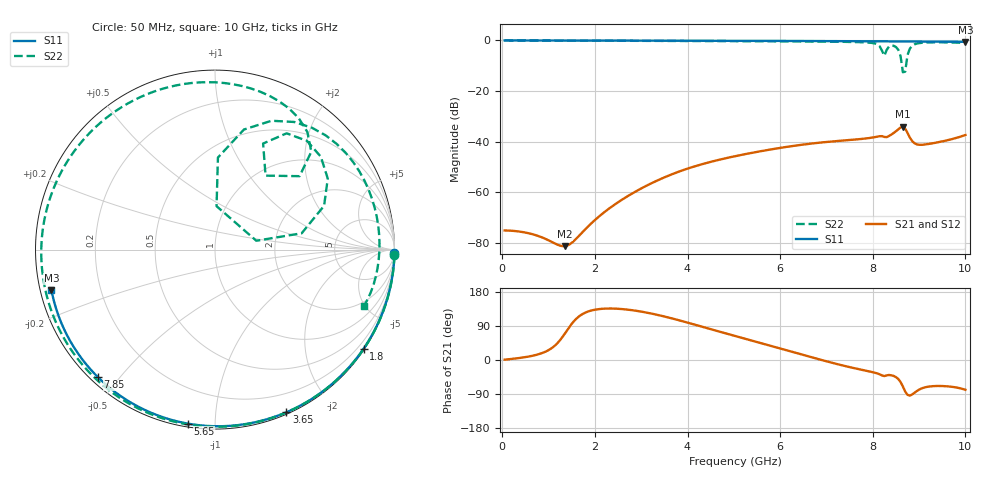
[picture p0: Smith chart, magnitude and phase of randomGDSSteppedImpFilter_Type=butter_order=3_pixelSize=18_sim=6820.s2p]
! freq	dB(S11)	phase(S11)	dB(S12)	phase(S12)
!  dB(S21)	phase(S21)	dB(S22)	phase(S22)
!S-par simulation data
#  GHz  S  DB  R 50
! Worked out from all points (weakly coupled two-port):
!   200 points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, 50 MHz to 10 GHz, reference 50 ohm
!   highest |S21| = -34.10 dB at 8.65 GHz (marker M1); lowest = -81.3 dB at 1.35 GHz (marker M2)
!   lowest |S11| = -0.5 dB at 10 GHz (marker M3), VSWR 31.71, Z = 1.6 - j6.12 ohm
!   |S11| at or under -10 dB: nowhere
!   |S22| runs from -12.6 to 0.0 dB; largest |S21 - S12| = 0
!   S11 on the Smith chart (normalised r, x): 50 MHz: open; 1.8 GHz: 0.03, -3.31; 3.65 GHz: 0.02, -1.53; 5.65 GHz: 0.02, -0.85; 7.85 GHz: 0.02, -0.44; 10 GHz: 0.03, -0.12
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0.05  -0.00 -1.0  -75.06 0.9  -75.06 0.9  -0.00 -1.7
1.35  -0.03 -25.4  -81.28 69.6  -81.28 69.6  -0.05 -45.8
1.75  -0.04 -32.7  -75.40 122.4  -75.40 122.4  -0.07 -58.9
1.8  -0.04 -33.7  -74.45 125.4  -74.45 125.4  -0.08 -60.5
3.4  -0.08 -62.1  -54.89 117.7  -54.89 117.7  -0.14 -111.2
3.65  -0.09 -66.3  -52.97 110.2  -52.97 110.2  -0.15 -119.0
5.05  -0.14 -89.4  -45.64 62.6  -45.64 62.6  -0.24 -163.6
5.65  -0.16 -98.9  -43.53 42.4  -43.53 42.4  -0.29 175.7
6.7  -0.22 -115.1  -40.68 6.6  -40.68 6.6  -0.42 134.3
7.35  -0.27 -125.0  -39.56 -14.4  -39.56 -14.4  -0.54 103.4
7.85  -0.31 -132.5  -38.73 -28.2  -38.73 -28.2  -0.77 74.0
8.05  -0.33 -135.5  -38.17 -33.7  -38.17 -33.7  -1.23 57.5
8.2  -0.34 -137.8  -37.81 -40.8  -37.81 -40.8  -4.10 41.0
8.25  -0.35 -138.6  -38.13 -42.5  -38.13 -42.5  -6.03 55.6
8.35  -0.36 -140.1  -37.75 -39.6  -37.75 -39.6  -2.37 58.4
8.55  -0.38 -143.1  -35.10 -50.0  -35.10 -50.0  -3.68 21.9
8.65  -0.39 -144.6  -34.10 -69.9  -34.10 -69.9  -12.56 12.1
8.7  -0.39 -145.4  -34.84 -83.3  -34.84 -83.3  -12.32 87.9
8.75  -0.40 -146.2  -36.51 -92.0  -36.51 -92.0  -5.80 88.2
8.9  -0.41 -148.5  -40.61 -86.5  -40.61 -86.5  -1.55 58.2
9.35  -0.46 -155.5  -40.43 -68.7  -40.43 -68.7  -0.73 17.9
10  -0.55 -166.0  -37.36 -78.5  -37.36 -78.5  -1.04 -20.8
